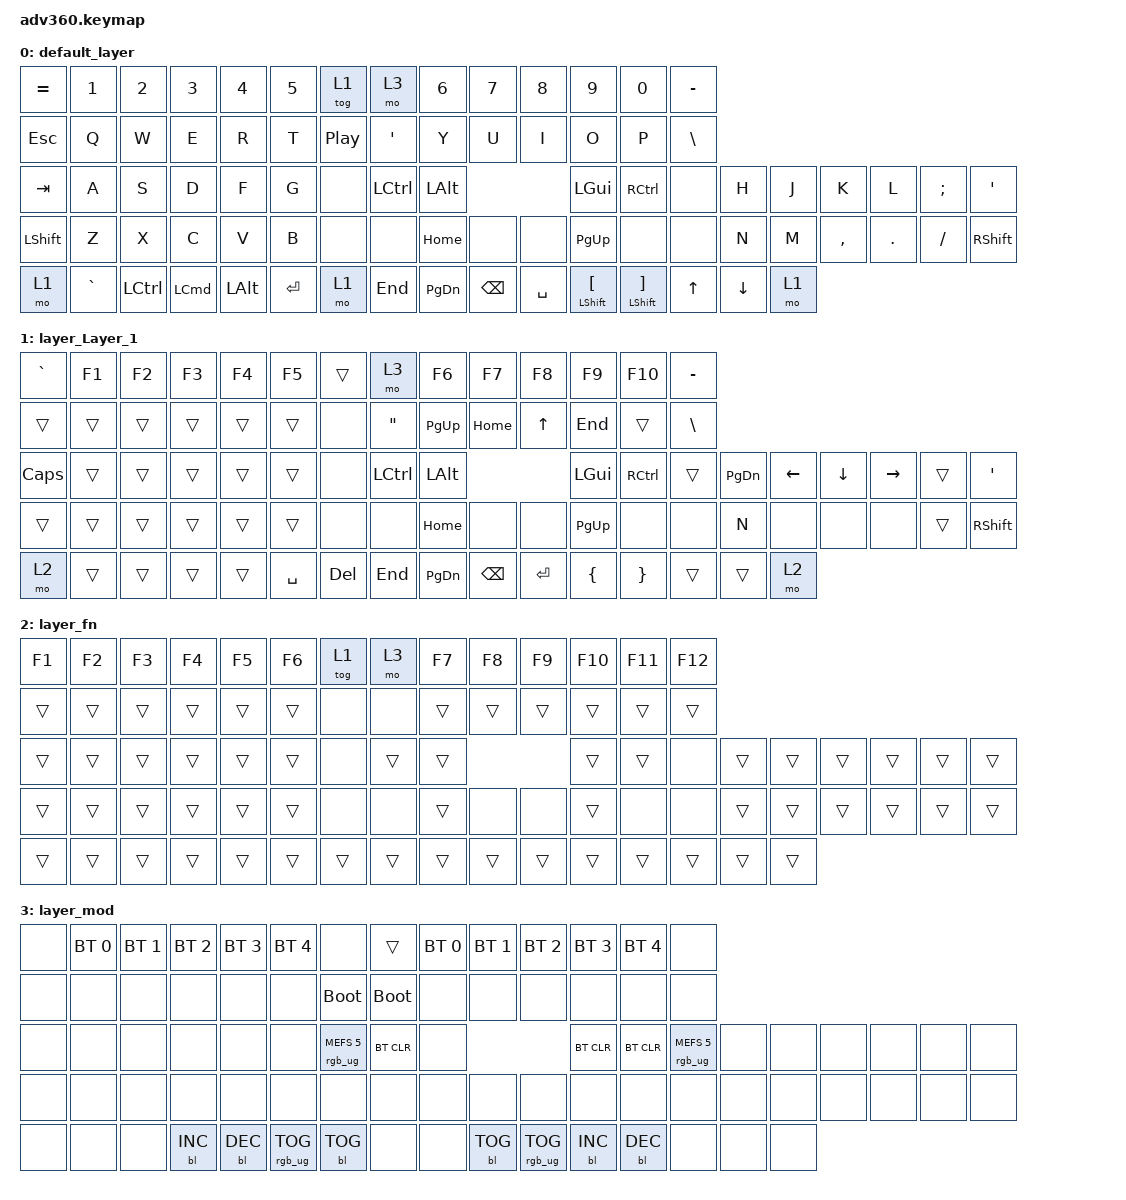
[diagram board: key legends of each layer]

/*
 * Copyright (c) 2020 The ZMK Contributors
 *
 * SPDX-License-Identifier: MIT
 */


/* THIS FILE WAS GENERATED!
 *
 * This file was generated automatically. You may or may not want to
 * edit it directly.
 */

#include <behaviors.dtsi>
#include <dt-bindings/zmk/keys.h>
#include <dt-bindings/zmk/bt.h>
#include <dt-bindings/zmk/rgb.h>
#include <dt-bindings/zmk/backlight.h>

/ {
  behaviors {
    #include "macros.dtsi"

    hm: homerow_mods {
        compatible = "zmk,behavior-hold-tap";
        label = "HOMEROW_MODS";
        #binding-cells = <2>;
        tapping-term-ms = <200>;
        quick_tap_ms = <175>;
        flavor = "tap-preferred";
        bindings = <&kp>, <&kp>;
    };
  };

    keymap {
        compatible = "zmk,keymap";


        default_layer {
            bindings = <
 &kp EQUAL     &kp N1            &kp N2            &kp N3        &kp N4     &kp N5                      &tog 1             &mo 3     &kp N6         &kp N7     &kp N8           &kp N9               &kp N0  &kp MINUS
   &kp ESC      &kp Q             &kp W             &kp E         &kp R      &kp T            &kp C_PLAY_PAUSE  &kp SINGLE_QUOTE      &kp Y          &kp U      &kp I            &kp O                &kp P   &kp BSLH
   &kp TAB      &kp A             &kp S             &kp D         &kp F      &kp G                       &none         &kp LCTRL   &kp LALT                                   &kp LGUI            &kp RCTRL      &none     &kp H   &kp J      &kp K    &kp L  &kp SEMI    &kp SQT
 &kp LSHFT      &kp Z             &kp X             &kp C         &kp V      &kp B                       &none             &none   &kp HOME          &none      &none        &kp PG_UP                &none      &none     &kp N   &kp M  &kp COMMA  &kp DOT  &kp FSLH  &kp RSHFT
     &mo 1  &kp GRAVE  &kp LEFT_CONTROL  &kp LEFT_COMMAND  &kp LEFT_ALT  &kp ENTER                       &mo 1           &kp END  &kp PG_DN  &kp BACKSPACE  &kp SPACE  &mt LSHIFT LBKT  &mt LEFT_SHIFT RBKT     &kp UP  &kp DOWN   &mo 1
            >;
        };

        layer_Layer_1 {
            bindings = <
    &kp GRAVE  &kp F1  &kp F2  &kp F3  &kp F4     &kp F5             &trans              &mo 3       &kp F6         &kp F7        &kp F8          &kp F9          &kp F10  &kp MINUS
       &trans  &trans  &trans  &trans  &trans     &trans              &none  &kp DOUBLE_QUOTES  &kp PAGE_UP       &kp HOME  &kp UP_ARROW         &kp END           &trans   &kp BSLH
 &kp CAPSLOCK  &trans  &trans  &trans  &trans     &trans              &none          &kp LCTRL     &kp LALT                                     &kp LGUI        &kp RCTRL     &trans  &kp PAGE_DOWN  &kp LEFT_ARROW  &kp DOWN_ARROW  &kp RIGHT_ARROW  &trans    &kp SQT
       &trans  &trans  &trans  &trans  &trans     &trans              &none              &none     &kp HOME          &none         &none       &kp PG_UP            &none      &none          &kp N           &none           &none            &none  &trans  &kp RSHFT
        &mo 2  &trans  &trans  &trans  &trans  &kp SPACE            &kp DEL            &kp END    &kp PG_DN  &kp BACKSPACE     &kp ENTER  &kp LEFT_BRACE  &kp RIGHT_BRACE     &trans         &trans           &mo 2
            >;
        };

        layer_fn {
            bindings = <
 &kp F1  &kp F2  &kp F3  &kp F4  &kp F5  &kp F6            &tog 1   &mo 3  &kp F7  &kp F8  &kp F9  &kp F10  &kp F11  &kp F12
 &trans  &trans  &trans  &trans  &trans  &trans             &none   &none  &trans  &trans  &trans   &trans   &trans   &trans
 &trans  &trans  &trans  &trans  &trans  &trans             &none  &trans  &trans                   &trans   &trans    &none  &trans  &trans  &trans  &trans  &trans  &trans
 &trans  &trans  &trans  &trans  &trans  &trans             &none   &none  &trans   &none   &none   &trans    &none    &none  &trans  &trans  &trans  &trans  &trans  &trans
 &trans  &trans  &trans  &trans  &trans  &trans            &trans  &trans  &trans  &trans  &trans   &trans   &trans   &trans  &trans  &trans
            >;
        };

        layer_mod {
            bindings = <
  &none  &bt BT_SEL 0  &bt BT_SEL 1  &bt BT_SEL 2  &bt BT_SEL 3     &bt BT_SEL 4                             &none       &trans  &bt BT_SEL 0  &bt BT_SEL 1     &bt BT_SEL 2  &bt BT_SEL 3  &bt BT_SEL 4                   &none
  &none         &none         &none         &none         &none            &none                       &bootloader  &bootloader         &none         &none            &none         &none         &none                   &none
  &none         &none         &none         &none         &none            &none            &rgb_ug RGB_MEFS_CMD 5   &bt BT_CLR         &none                                   &bt BT_CLR    &bt BT_CLR  &rgb_ug RGB_MEFS_CMD 5   &none   &none   &none   &none   &none   &none
  &none         &none         &none         &none         &none            &none                             &none        &none         &none         &none            &none         &none         &none                   &none   &none   &none   &none   &none   &none   &none
  &none         &none         &none    &bl BL_INC    &bl BL_DEC  &rgb_ug RGB_TOG                        &bl BL_TOG        &none         &none    &bl BL_TOG  &rgb_ug RGB_TOG    &bl BL_INC    &bl BL_DEC                   &none   &none   &none
            >;
        };

    };
};
